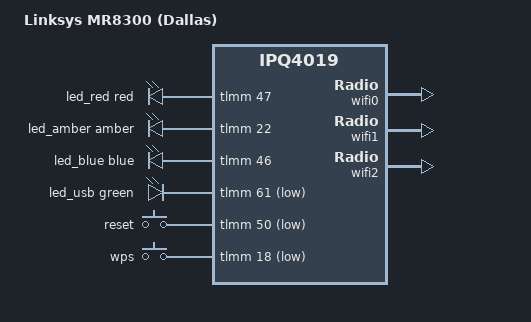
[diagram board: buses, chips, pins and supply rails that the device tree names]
// SPDX-License-Identifier: GPL-2.0-or-later OR MIT

#include <dt-bindings/leds/common.h>

#include "qcom-ipq4019-xx8300.dtsi"

/ {
	model = "Linksys MR8300 (Dallas)";
	compatible = "linksys,mr8300", "qcom,ipq4019";

	aliases {
		led-boot = &led_blue;
		led-failsafe = &led_red;
		led-running = &led_blue;
		led-upgrade = &led_amber;
		serial0 = &blsp1_uart1;
	};

	// Top panel LEDs, above Linksys logo
	leds {
		compatible = "gpio-leds";

		led_red: red {
			function = LED_FUNCTION_ALARM;
			color = <LED_COLOR_ID_RED>;
			gpios = <&tlmm 47 GPIO_ACTIVE_HIGH>;
		};

		led_amber: amber {
			function = LED_FUNCTION_PROGRAMMING;
			color = <LED_COLOR_ID_AMBER>;
			gpios = <&tlmm 22 GPIO_ACTIVE_HIGH>;
			panic-indicator;
		};

		led_blue: blue {
			function = LED_FUNCTION_POWER;
			color = <LED_COLOR_ID_BLUE>;
			gpios = <&tlmm 46 GPIO_ACTIVE_HIGH>;
		};

		// On back panel, above USB socket

		led_usb: usb {
			function = LED_FUNCTION_USB;
			color = <LED_COLOR_ID_GREEN>;
			gpios = <&tlmm 61 GPIO_ACTIVE_LOW>;
			trigger-sources = <&usb3_port1>, <&usb3_port2>,
					  <&usb2_port1>;
			linux,default-trigger = "usbport";
		};
	};

	keys {
		compatible = "gpio-keys";

		reset {
			label = "reset";
			linux,code = <KEY_RESTART>;
			gpios = <&tlmm 50 GPIO_ACTIVE_LOW>;
		};

		wps {
			label = "wps";
			linux,code = <KEY_WPS_BUTTON>;
			gpios = <&tlmm 18 GPIO_ACTIVE_LOW>;
		};
	};
};

&wifi0 {
	status = "okay";
	qcom,ath10k-calibration-variant = "linksys-mr8300-v0-fcc";
};

&wifi1 {
	status = "okay";
	ieee80211-freq-limit = <5170000 5330000>;
	qcom,ath10k-calibration-variant = "linksys-mr8300-v0-fcc";
};

&wifi2 {
	status = "okay";
	ieee80211-freq-limit = <5490000 5835000>;
	qcom,ath10k-calibration-variant = "linksys-mr8300-v0-fcc";
};

/* QSDK 10: retain this board's physical LAN/WAN port assignment. */
#define QSDK_LAN_BMP 0x1e
#define QSDK_WAN_BMP 0x20
#define QSDK_WAN_PHY 4
#define QSDK_WAN_POLL 1
#include "qcom-ipq40xx-qsdk-10.dtsi"

&switch {
	qcom,port_phyinfo {
		port1 { port_id = <1>; phy_address = <0>; };
		port2 { port_id = <2>; phy_address = <1>; };
		port3 { port_id = <3>; phy_address = <2>; };
		port4 { port_id = <4>; phy_address = <3>; };
		port5 { port_id = <5>; phy_address = <4>; };
	};
};

&qsdk_gmac0 {
	qcom,mac-source = <&swport5>;
};
